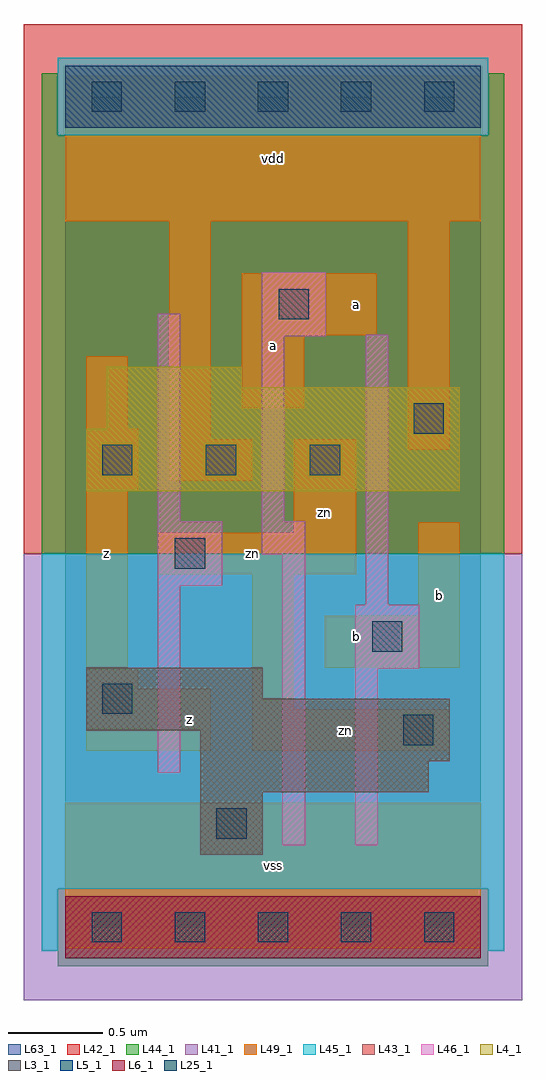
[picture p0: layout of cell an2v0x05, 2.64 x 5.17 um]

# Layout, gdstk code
import gdstk
lib = gdstk.Library(unit=1e-6, precision=1e-09)
def R(c, l, rs):  # rectangles x0, y0, x1, y1
    for r in rs: c.add(gdstk.rectangle(r[:2], r[2:], *l))
def A(c, l, x, y, w, h, nx, ny, dx, dy):  # array of equal rectangles
    R(c, l, [(x+i*dx, y+j*dy, x+i*dx+w, y+j*dy+h) for i in range(nx) for j in range(ny)])
L3_1 = (3, 1)
L4_1 = (4, 1)
L5_1 = (5, 1)
L6_1 = (6, 1)
L25_1 = (25, 1)
L41_1 = (41, 1)
L42_1 = (42, 1)
L43_1 = (43, 1)
L44_1 = (44, 1)
L45_1 = (45, 1)
L46_1 = (46, 1)
L49_1 = (49, 1)
L63_1 = (63, 1)

an2v0x05 = lib.new_cell('an2v0x05')
R(an2v0x05, L3_1, [(0.715,0.385,1.045,0.715), (0.715,0.715,1.925,0.88), (0.715,0.88,2.035,1.045), (0.11,1.045,2.035,1.21), (0.11,1.21,1.045,1.375)])
R(an2v0x05, L4_1, [(0.11,2.31,2.09,2.64), (0.22,2.64,2.09,2.86), (0.22,2.86,0.935,2.97)])
R(an2v0x05, L5_1, [(0,4.235,2.2,4.565)])
R(an2v0x05, L6_1, [(0,-0.165,2.2,0.165)])
A(an2v0x05, L25_1, 0.14, -0.08, 0.16, 0.16, 5, 2, 0.44, 4.4)
A(an2v0x05, L25_1, 0.195, 2.395, 0.16, 0.16, 3, 1, 0.55, 0)
R(an2v0x05, L25_1, [(0.8,0.47,0.96,0.63), (1.79,0.965,1.95,1.125), (0.195,1.13,0.355,1.29), (1.625,1.46,1.785,1.62), (0.58,1.9,0.74,2.06), (1.845,2.615,2.005,2.775), (1.13,3.22,1.29,3.38)])
R(an2v0x05, L41_1, [(-0.22,-0.385,2.42,1.98)])
R(an2v0x05, L42_1, [(-0.22,1.98,2.42,4.785)])
R(an2v0x05, L43_1, [(0,-0.165,2.2,0.165), (0.715,0.385,1.045,0.715), (0.715,0.715,1.925,0.88), (0.715,0.88,2.035,1.045), (0.11,1.045,2.035,1.21), (0.11,1.21,1.045,1.375), (0.11,2.31,2.09,2.64), (0.22,2.64,2.09,2.86), (0.22,2.86,0.935,2.97), (0,4.235,2.2,4.565)])
R(an2v0x05, L44_1, [(-0.04,-0.205,2.24,0.205), (-0.125,1.98,2.325,4.195), (-0.125,4.195,-0.04,4.525), (2.24,4.195,2.325,4.525)])
R(an2v0x05, L45_1, [(-0.125,-0.125,-0.04,0.205), (2.24,-0.125,2.325,0.205), (-0.125,0.205,2.325,1.98), (-0.04,4.195,2.24,4.605)])
R(an2v0x05, L46_1, [(1.15,0.435,1.27,1.975), (1.535,0.435,1.655,1.37), (0.49,0.82,0.61,1.81), (1.535,1.37,1.875,1.71), (1.59,1.71,1.71,3.14), (0.49,1.81,0.83,2.15), (1.04,1.975,1.27,2.15), (0.49,2.15,0.61,3.25), (1.04,2.15,1.16,3.13), (1.04,3.13,1.38,3.47)])
R(an2v0x05, L49_1, [(0,-0.11,2.2,0.66), (0.11,0.935,0.77,1.265), (0.99,0.935,2.035,1.155), (0.99,1.155,1.21,1.87), (0.11,1.265,0.385,1.375), (0.11,1.375,0.33,2.31), (1.375,1.375,2.09,1.65), (1.87,1.65,2.09,2.145), (0.495,1.87,1.54,2.09), (1.21,2.09,1.54,2.585), (0.11,2.31,0.385,2.64), (0.55,2.365,0.99,2.585), (1.815,2.53,2.035,3.74), (0.55,2.585,0.77,3.74), (0.11,2.64,0.33,3.025), (0.935,2.75,1.265,3.135), (0.935,3.135,1.65,3.465), (0,3.74,2.2,4.51)])
R(an2v0x05, L63_1, [(0,0,2.2,4.4)])
an2v0x05.add(gdstk.Label('z', (0.22,1.98), layer=49, texttype=1))
an2v0x05.add(gdstk.Label('z', (0.66,1.1), layer=49, texttype=1))
an2v0x05.add(gdstk.Label('vss', (1.1,0.33), layer=49, texttype=1))
an2v0x05.add(gdstk.Label('zn', (0.99,1.98), layer=49, texttype=1))
an2v0x05.add(gdstk.Label('b', (1.54,1.54), layer=49, texttype=1))
an2v0x05.add(gdstk.Label('zn', (1.375,2.2), layer=49, texttype=1))
an2v0x05.add(gdstk.Label('a', (1.1,3.08), layer=49, texttype=1))
an2v0x05.add(gdstk.Label('a', (1.54,3.3), layer=49, texttype=1))
an2v0x05.add(gdstk.Label('vdd', (1.1,4.07), layer=49, texttype=1))
an2v0x05.add(gdstk.Label('zn', (1.485,1.045), layer=49, texttype=1))
an2v0x05.add(gdstk.Label('b', (1.98,1.76), layer=49, texttype=1))

lib.write_gds('an2v0x05.gds')
